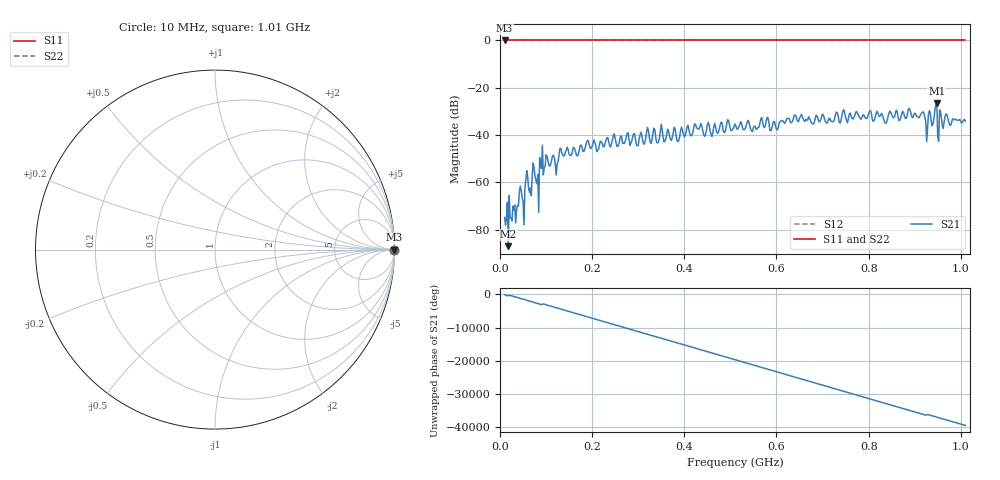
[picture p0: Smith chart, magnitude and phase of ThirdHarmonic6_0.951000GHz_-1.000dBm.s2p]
! 8/16/2025 6:53:18 AM
! C:\ANRITSUVNA\TEMP\TEMP.S2P
! CHANNEL.1
! TR.MEASUREMENT
! RAW.DATA
! RF.CORRECTION.OFF
! AVERAGING.OFF
! IF.BANDWIDTH: 5KHZ
! SWEEPTYPE:  FREQ.SWEEP(Linear)
! Reference Plane Port Info
! PORT:  PORT1  PORT2
! DISTANCE:  0  m  0  m
! TIME:  0  s  0  s
! PHASE.OFFSET:  0  deg.  0  deg.
! LOSS:  0  dB  0  dB
! REF.LOSS:  0  dB  0  dB
! REF.FREQ:  0  Hz  0  Hz
! Power Info
! POWER:  -20  dBm  -20  dBm
! EFF.POWER:  -20  dBm  -20  dBm
! SOURCE.ATTEN:  0  dB  0  dB
! TEST.ATTEN:  0  dB  0  dB
# GHZ S RI R 50.0
! FREQ.GHZ  S11RE  S11IM  S21RE  S21IM  S12RE  S12IM  S22RE  S22IM
!; PortSelection: Port_12
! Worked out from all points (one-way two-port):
!   501 points, 10 MHz to 1.01 GHz, reference 50 ohm
!   highest |S21| = -26.50 dB at 948 MHz (marker M1); lowest = -86.9 dB at 18 MHz (marker M2)
!   lowest |S11| = 0.0 dB at 10 MHz (marker M3)
!   |S11| at or under -10 dB: nowhere
!   |S22| runs from 0.0 to 0.0 dB; largest |S21 - S12| = 1
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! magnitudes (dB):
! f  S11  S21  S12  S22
! 10 MHz  0.0  -74.7  0.0  0.0
! 18 MHz  0.0  -86.9  0.0  0.0
! 36 MHz  0.0  -71.6  0.0  0.0
! 46 MHz  0.0  -63.3  0.0  0.0
! 50 MHz  0.0  -67.9  0.0  0.0
! 58 MHz  0.0  -55.0  0.0  0.0
! 66 MHz  0.0  -62.3  0.0  0.0
! 74 MHz  0.0  -53.8  0.0  0.0
! 80 MHz  0.0  -60.5  0.0  0.0
! 90 MHz  0.0  -54.1  0.0  0.0
! 122 MHz  0.0  -56.9  0.0  0.0
! 132 MHz  0.0  -45.6  0.0  0.0
! 178 MHz  0.0  -45.1  0.0  0.0
! 344 MHz  0.0  -42.8  0.0  0.0
! 510 MHz  0.0  -35.3  0.0  0.0
! 678 MHz  0.0  -35.2  0.0  0.0
! 844 MHz  0.0  -30.8  0.0  0.0
! 916 MHz  0.0  -30.5  0.0  0.0
! 926 MHz  0.0  -42.8  0.0  0.0
! 944 MHz  0.0  -29.1  0.0  0.0
! 948 MHz  0.0  -26.5  0.0  0.0
! 1.01 GHz  0.0  -34.0  0.0  0.0
